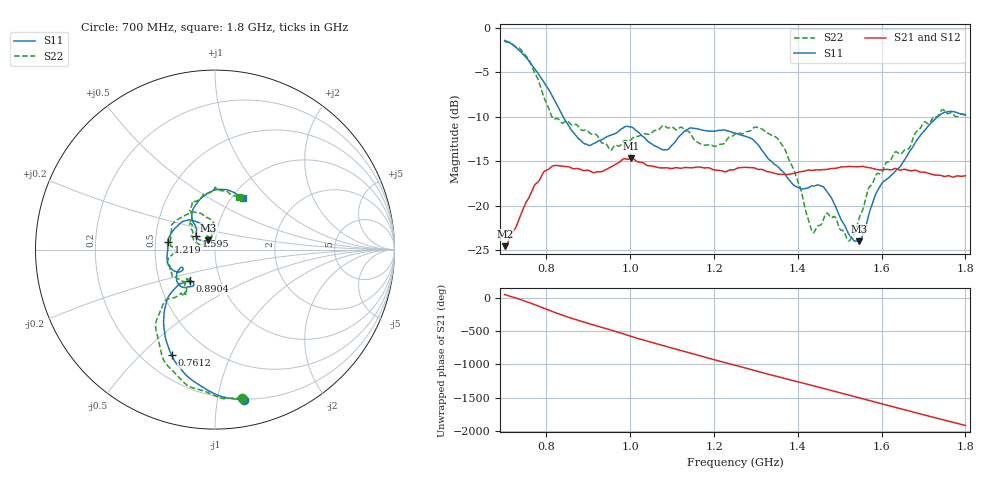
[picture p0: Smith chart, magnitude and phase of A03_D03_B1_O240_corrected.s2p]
! Created with skrf 1.9.0 (http://scikit-rf.org).
# Hz S RI R 50.0
!freq ReS11 ImS11 ReS21 ImS21 ReS12 ImS12 ReS22 ImS22
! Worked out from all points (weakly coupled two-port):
!   1601 points, 700 MHz to 1.8 GHz, reference 50 ohm
!   highest |S21| = -14.65 dB at 1.002 GHz (marker M1); lowest = -24.5 dB at 700.7 MHz (marker M2)
!   lowest |S11| = -24.0 dB at 1.547 GHz (marker M3), VSWR 1.13, Z = 46.2 + j4.78 ohm
!   |S11| at or under -10 dB: 839.9 MHz to 1.733 GHz (893.3 MHz wide, 69.4 % of centre)
!   |S22| runs from -23.9 to -1.5 dB; largest |S21 - S12| = 0.0035
!   S11 on the Smith chart (normalised r, x): 700 MHz: 0.20, -1.19; 761.2 MHz: 0.32, -0.62; 890.4 MHz: 0.72, -0.27; 1.219 GHz: 0.58, +0.06; 1.595 GHz: 0.80, +0.12; 1.8 GHz: 1.12, +0.72
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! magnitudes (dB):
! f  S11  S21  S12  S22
! 700 MHz  -1.4  -24.5  -24.3  -1.5
! 700.7 MHz  -1.4  -24.5  -24.2  -1.5
! 761.2 MHz  -3.9  -18.8  -18.7  -3.9
! 814.8 MHz  -7.7  -15.5  -15.6  -10.1
! 883.6 MHz  -12.7  -16.0  -15.8  -11.5
! 890.4 MHz  -13.0  -16.0  -16.0  -11.5
! 953 MHz  -12.0  -15.6  -15.6  -13.7
! 1.002 GHz  -11.1  -14.7  -14.8  -12.5
! 1.067 GHz  -13.4  -15.7  -15.6  -11.4
! 1.142 GHz  -11.2  -15.7  -15.7  -11.8
! 1.219 GHz  -11.5  -16.1  -16.1  -13.1
! 1.25 GHz  -11.8  -15.9  -15.8  -11.9
! 1.354 GHz  -15.7  -16.4  -16.4  -12.6
! 1.392 GHz  -17.7  -16.3  -16.3  -16.2
! 1.434 GHz  -17.7  -16.0  -16.0  -22.8
! 1.471 GHz  -18.5  -15.9  -15.9  -20.8
! 1.523 GHz  -23.3  -15.6  -15.6  -23.9
! 1.547 GHz  -24.0  -15.6  -15.6  -21.3
! 1.595 GHz  -17.9  -15.9  -15.9  -16.4
! 1.617 GHz  -16.8  -15.9  -15.9  -15.0
! 1.736 GHz  -9.9  -16.5  -16.6  -9.8
! 1.8 GHz  -9.7  -16.6  -16.6  -9.9
